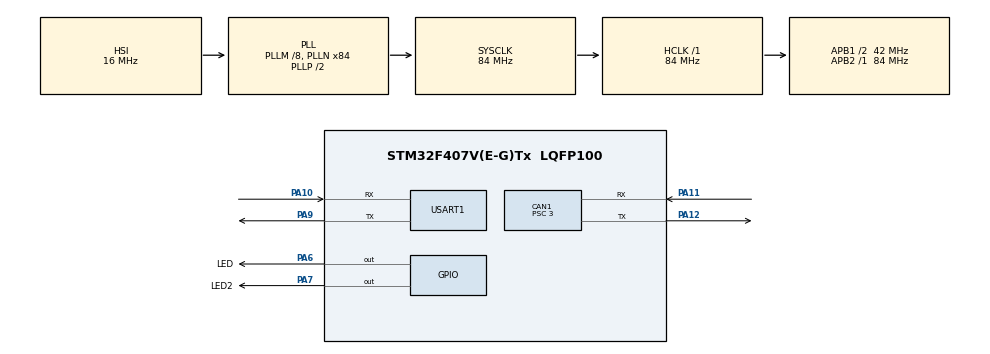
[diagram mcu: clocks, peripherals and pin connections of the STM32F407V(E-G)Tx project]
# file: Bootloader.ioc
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CAN1.BS1=CAN_BS1_11TQ
CAN1.BS2=CAN_BS2_2TQ
CAN1.CalculateBaudRate=1000000
CAN1.CalculateTimeBit=1000
CAN1.CalculateTimeQuantum=71.42857142857143
CAN1.Mode=CAN_MODE_NORMAL
CAN1.Prescaler=3
Mcu.Family=STM32F4
Mcu.Name=STM32F407V(E-G)Tx
Mcu.Package=LQFP100
NVIC.CAN1_RX0_IRQn=true\:0\:0\:false\:false\:true\:true\:true\:true
NVIC.CAN1_RX1_IRQn=true\:0\:0\:false\:false\:true\:true\:true\:true
NVIC.PriorityGroup=NVIC_PRIORITYGROUP_4
PA10.Mode=Asynchronous
PA10.Signal=USART1_RX
PA11.GPIO_PuPd=GPIO_PULLDOWN
PA11.Mode=CAN_Activate
PA11.Signal=CAN1_RX
PA12.GPIO_PuPd=GPIO_PULLDOWN
PA12.Mode=CAN_Activate
PA12.Signal=CAN1_TX
PA6.GPIO_Label=LED
PA6.Signal=GPIO_Output
PA7.GPIO_Label=LED2
PA7.Signal=GPIO_Output
PA9.Mode=Asynchronous
PA9.Signal=USART1_TX
PH0-OSC_IN.Mode=HSE-External-Oscillator
PH0-OSC_IN.Signal=RCC_OSC_IN
PH1-OSC_OUT.Mode=HSE-External-Oscillator
PH1-OSC_OUT.Signal=RCC_OSC_OUT
ProjectManager.HeapSize=0x200
ProjectManager.StackSize=0x400
ProjectManager.TargetToolchain=STM32CubeIDE
RCC.48MHZClocksFreq_Value=42000000
RCC.AHBFreq_Value=84000000
RCC.APB1CLKDivider=RCC_HCLK_DIV2
RCC.APB1Freq_Value=42000000
RCC.APB1TimFreq_Value=84000000
RCC.APB2Freq_Value=84000000
RCC.APB2TimFreq_Value=84000000
RCC.CortexFreq_Value=84000000
RCC.HCLKFreq_Value=84000000
RCC.HSE_VALUE=25000000
RCC.HSI_VALUE=16000000
RCC.LSE_VALUE=32768
RCC.PLLM=8
RCC.PLLN=84
RCC.SYSCLKFreq_VALUE=84000000
RCC.SYSCLKSource=RCC_SYSCLKSOURCE_PLLCLK
RCC.VCOOutputFreq_Value=168000000
USART1.VirtualMode=VM_ASYNC
board=custom

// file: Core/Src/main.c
/* USER CODE BEGIN Header */
/**
 ******************************************************************************
 * @file           : main.c
 * @brief          : Main program body
 ******************************************************************************
 * @attention
 *
 * Copyright (c) 2023 STMicroelectronics.
 * All rights reserved.
 *
 * This software is licensed under terms that can be found in the LICENSE file
 * in the root directory of this software component.
 * If no LICENSE file comes with this software, it is provided AS-IS.
 *
 ******************************************************************************
 */
/* USER CODE END Header */
#include "main.h"

/* USER CODE BEGIN Includes */
#include <stdio.h>
#include <stdbool.h>
#include <string.h>
#include "stm32f407x_flash.h"
#include "canbus_bootloader.h"
/* USER CODE END Includes */

/* USER CODE BEGIN PD */
// is a multiple of CAN_DATA_BYTES for ease
#define FLASH_BUF_MULT 256
#define FLASH_BUF_SIZE CAN_DATA_BYTES *FLASH_BUF_MULT
#define min(a, b) \
  ({ __typeof__ (a) _a = (a); \
      __typeof__ (b) _b = (b); \
     _a < _b ? _a : _b; })
/* USER CODE END PD */

/* USER CODE BEGIN PM */
typedef void (*ptrF)(uint32_t dlyticks);
typedef void (*pFunction)(void);
/* USER CODE END PM */

CAN_HandleTypeDef hcan1;

UART_HandleTypeDef huart1;

/* USER CODE BEGIN PV */
enum FLASH_STATUS
{
  NOT_STARTED,
  IN_PROGRESS,
  FINISHED
};

CAN_TxHeaderTypeDef TxHeader;
uint8_t TxData[8];
uint32_t TxMailbox;
CAN_RxHeaderTypeDef RxHeader;
uint8_t RxData[8];
enum FLASH_STATUS status = NOT_STARTED;
uint8_t flashBuf[FLASH_BUF_SIZE];
uint64_t fileLength;
int indexCheck;

/* USER CODE END PV */

void SystemClock_Config(void);
static void MX_GPIO_Init(void);
static void MX_CAN1_Init(void);
static void MX_USART1_UART_Init(void);
/* USER CODE BEGIN PFP */
void goToApp(void);
/* USER CODE END PFP */

/* USER CODE BEGIN 0 */

/**
 * @brief  Retargets the C library printf function to the USART.
 * @param  None
 * @retval None
 */
int __io_putchar(int ch)
{
  // Write character to ITM ch.0
  ITM_SendChar(ch);
  return (ch);
}

void HAL_CAN_RxFifo0MsgPendingCallback(CAN_HandleTypeDef *hcan)
{
  if (hcan == &hcan1)
  {
    if (HAL_CAN_GetRxMessage(hcan, CAN_RX_FIFO0, &RxHeader, RxData) != HAL_OK)
    {
      Error_Handler();
    }
    printf("CAN RX: ", RxHeader.StdId);
    for (int i = 0; i < 8; i++)
    {
      printf("%02X ", RxData[i]);
    }
    printf("\n");

    // if id == 0x123, we are receiving firmware
    if (RxHeader.StdId == 0x123)
    {

      // first reception, tells length of file
      if (status == NOT_STARTED)
      {
        status = IN_PROGRESS;
        indexCheck = 0;
        fileLength = 0;
        for (int i = 0; i < 8; i++)
        {
          fileLength <<= 8;
          fileLength += RxData[i];
        }
        printf("Receiving file with length %lu\n", fileLength);

        // wipe flash mem before writing
        TxHeader.DLC = 1;
        TxData[0] = status;
        HAL_CAN_AddTxMessage(&hcan1, &TxHeader, TxData, &TxMailbox);
        return;
      }

      uint32_t index = 0;
      uint8_t *data = RxData + CAN_IDX_BYTES;
      for (int i = 0; i < CAN_IDX_BYTES; i++)
      {
        index <<= 8;
        index += RxData[i];
      }

      //	printf("index diff: %d\n", index - indexCheck);
      if (index - indexCheck != 1)
      {
        printf("lost packet?\n");
      }
      indexCheck = index;

      uint8_t bytesToWrite = fileLength < CAN_DATA_BYTES ? fileLength : CAN_DATA_BYTES;
      //	uint8_t bytesToWrite = 6;

      uint32_t writeIdx = CAN_DATA_BYTES * (index % FLASH_BUF_MULT);

      // add data to flash buffer
      memcpy(&flashBuf[writeIdx], data, bytesToWrite);

      // if next index
      if (index > 0 && (index % FLASH_BUF_MULT == FLASH_BUF_MULT - 1 ||
                        bytesToWrite < CAN_DATA_BYTES))
      {
        printf("writing to flash at index %lu\n", index);
        // we need to write flash buffer to flash memory
        uint32_t numWords = (FLASH_BUF_SIZE / 4) + ((FLASH_BUF_SIZE % 4) != 0);
        uint32_t offset = index - (FLASH_BUF_MULT - 1);
        flashWriteApp(offset, (uint32_t *)flashBuf, numWords);
      }

      fileLength -= bytesToWrite;

      if (fileLength <= 0)
      {
        printf("Flashing Finished.\n");
        status = FINISHED;
      }
    }
  }
}

void goToApp(void)
{
  uint32_t JumpAddress;
  pFunction Jump_to_Application;
  printf("Jumping to Application \n");

  if (((*(uint32_t *)FLASH_APP_ADDR) & 0x2FFC0000) == 0x20000000)
  {
    HAL_Delay(100);
    printf("Valid Stack Pointer...\n");

    JumpAddress = *(uint32_t *)(FLASH_APP_ADDR + 4);
    Jump_to_Application = (pFunction)JumpAddress;

    __set_MSP(*(uint32_t *)FLASH_APP_ADDR);
    Jump_to_Application();
  }
  else
  {
    printf("Failed to Start Application\n");
  }
}

void Convert_To_Str(uint32_t *Data, char *Buf)
{
  int numberofbytes = ((strlen((char *)Data) / 4) + ((strlen((char *)Data) % 4) != 0)) * 4;

  for (int i = 0; i < numberofbytes; i++)
  {
    Buf[i] = Data[i / 4] >> (8 * (i % 4));
  }
}

/* USER CODE END 0 */

int main(void)
{
  /* USER CODE BEGIN 1 */
  TxHeader.IDE = CAN_ID_STD;
  TxHeader.StdId = 0x111;
  TxHeader.RTR = CAN_RTR_DATA;
  TxHeader.DLC = 2;
  TxData[0] = 'h';
  TxData[1] = 'i';
  /* USER CODE END 1 */

  /* MCU Configuration--------------------------------------------------------*/

  /* Reset of all peripherals, Initializes the Flash interface and the Systick. */
  HAL_Init();

  /* Configure the system clock */
  SystemClock_Config();

  /* Initialize all configured peripherals */
  MX_GPIO_Init();
  MX_CAN1_Init();
  MX_USART1_UART_Init();
  /* USER CODE BEGIN 2 */
  CAN_FilterTypeDef sFilterConfig;

  sFilterConfig.FilterFIFOAssignment = CAN_RX_FIFO0; // set fifo assignment
  sFilterConfig.FilterIdHigh = 0;
  sFilterConfig.FilterIdLow = 0;
  sFilterConfig.FilterMaskIdHigh = 0;
  sFilterConfig.FilterMaskIdLow = 0;
  sFilterConfig.FilterScale = CAN_FILTERSCALE_32BIT; // set filter scale
  sFilterConfig.FilterActivation = ENABLE;
  sFilterConfig.FilterBank = 5;
  sFilterConfig.FilterMode = CAN_FILTERMODE_IDMASK;
  sFilterConfig.SlaveStartFilterBank = 7;
  HAL_CAN_ConfigFilter(&hcan1, &sFilterConfig);

  if (HAL_CAN_Start(&hcan1) != HAL_OK)
  {
    Error_Handler();
  }

  if (HAL_CAN_ActivateNotification(&hcan1, CAN_IT_RX_FIFO0_MSG_PENDING) != HAL_OK)
  {
    Error_Handler();
  }

  //  char *data = "hello i am writing this to flash.";
  //  char string[100];
  //  uint32_t rxData[30];
  //
  //  flashEraseAppSectors();
  //  int numofwords = (strlen(data)/4)+((strlen(data)%4)!=0);
  //  uint32_t timeStart = HAL_GetTick();
  //  flashWriteApp(0, (uint32_t*)data, numofwords);
  //  uint32_t timeEnd = HAL_GetTick();
  //
  //  printf("Took %ld ms to write\n", timeEnd - timeStart);
  //
  //  flashReadData(FLASH_APP_ADDR, rxData, numofwords);
  //  Convert_To_Str(rxData, string);
  //
  //  printf("Flash string: %s\n", string);
  flashEraseAppSectors();
  /* USER CODE END 2 */

  /* Infinite loop */
  while (1)
  {

    /* USER CODE BEGIN 3 */
    //    if (status == FINISHED) {
    //	status = NOT_STARTED;
    //	goToApp();
    //    }
    //    goToApp();
    //    printf("hello world!\n\r");
    //    HAL_Delay(1000);
    if (HAL_CAN_AddTxMessage(&hcan1, &TxHeader, TxData, &TxMailbox) != HAL_OK)
    {
      Error_Handler();
    }
    HAL_Delay(1000);
    //
    //     HAL_GPIO_TogglePin(LED_GPIO_Port, LED_Pin);
    //     HAL_Delay(100);
    //     HAL_GPIO_TogglePin(LED_GPIO_Port, LED_Pin);
  }
  /* USER CODE END 3 */
}

void SystemClock_Config(void)
{
  RCC_OscInitTypeDef RCC_OscInitStruct = {0};
  RCC_ClkInitTypeDef RCC_ClkInitStruct = {0};

  /** Configure the main internal regulator output voltage
   */
  __HAL_RCC_PWR_CLK_ENABLE();
  __HAL_PWR_VOLTAGESCALING_CONFIG(PWR_REGULATOR_VOLTAGE_SCALE1);

  /** Initializes the RCC Oscillators according to the specified parameters
   * in the RCC_OscInitTypeDef structure.
   */
  RCC_OscInitStruct.OscillatorType = RCC_OSCILLATORTYPE_HSI;
  RCC_OscInitStruct.HSIState = RCC_HSI_ON;
  RCC_OscInitStruct.HSICalibrationValue = RCC_HSICALIBRATION_DEFAULT;
  RCC_OscInitStruct.PLL.PLLState = RCC_PLL_ON;
  RCC_OscInitStruct.PLL.PLLSource = RCC_PLLSOURCE_HSI;
  RCC_OscInitStruct.PLL.PLLM = 8;
  RCC_OscInitStruct.PLL.PLLN = 84;
  RCC_OscInitStruct.PLL.PLLP = RCC_PLLP_DIV2;
  RCC_OscInitStruct.PLL.PLLQ = 4;
  if (HAL_RCC_OscConfig(&RCC_OscInitStruct) != HAL_OK)
  {
    Error_Handler();
  }

  /** Initializes the CPU, AHB and APB buses clocks
   */
  RCC_ClkInitStruct.ClockType = RCC_CLOCKTYPE_HCLK | RCC_CLOCKTYPE_SYSCLK | RCC_CLOCKTYPE_PCLK1 | RCC_CLOCKTYPE_PCLK2;
  RCC_ClkInitStruct.SYSCLKSource = RCC_SYSCLKSOURCE_PLLCLK;
  RCC_ClkInitStruct.AHBCLKDivider = RCC_SYSCLK_DIV1;
  RCC_ClkInitStruct.APB1CLKDivider = RCC_HCLK_DIV2;
  RCC_ClkInitStruct.APB2CLKDivider = RCC_HCLK_DIV1;

  if (HAL_RCC_ClockConfig(&RCC_ClkInitStruct, FLASH_LATENCY_2) != HAL_OK)
  {
    Error_Handler();
  }
}

static void MX_CAN1_Init(void)
{

  hcan1.Instance = CAN1;
  hcan1.Init.Prescaler = 3;
  hcan1.Init.Mode = CAN_MODE_NORMAL;
  hcan1.Init.SyncJumpWidth = CAN_SJW_1TQ;
  hcan1.Init.TimeSeg1 = CAN_BS1_11TQ;
  hcan1.Init.TimeSeg2 = CAN_BS2_2TQ;
  hcan1.Init.TimeTriggeredMode = DISABLE;
  hcan1.Init.AutoBusOff = DISABLE;
  hcan1.Init.AutoWakeUp = DISABLE;
  hcan1.Init.AutoRetransmission = DISABLE;
  hcan1.Init.ReceiveFifoLocked = DISABLE;
  hcan1.Init.TransmitFifoPriority = DISABLE;
  if (HAL_CAN_Init(&hcan1) != HAL_OK)
  {
    Error_Handler();
  }
}

static void MX_USART1_UART_Init(void)
{

  huart1.Instance = USART1;
  huart1.Init.BaudRate = 115200;
  huart1.Init.WordLength = UART_WORDLENGTH_8B;
  huart1.Init.StopBits = UART_STOPBITS_1;
  huart1.Init.Parity = UART_PARITY_NONE;
  huart1.Init.Mode = UART_MODE_TX_RX;
  huart1.Init.HwFlowCtl = UART_HWCONTROL_NONE;
  huart1.Init.OverSampling = UART_OVERSAMPLING_16;
  if (HAL_UART_Init(&huart1) != HAL_OK)
  {
    Error_Handler();
  }
}

static void MX_GPIO_Init(void)
{
  GPIO_InitTypeDef GPIO_InitStruct = {0};

  /* GPIO Ports Clock Enable */
  __HAL_RCC_GPIOH_CLK_ENABLE();
  __HAL_RCC_GPIOA_CLK_ENABLE();

  /*Configure GPIO pin Output Level */
  HAL_GPIO_WritePin(GPIOA, LED_Pin | LED2_Pin, GPIO_PIN_RESET);

  /*Configure GPIO pins : LED_Pin LED2_Pin */
  GPIO_InitStruct.Pin = LED_Pin | LED2_Pin;
  GPIO_InitStruct.Mode = GPIO_MODE_OUTPUT_PP;
  GPIO_InitStruct.Pull = GPIO_NOPULL;
  GPIO_InitStruct.Speed = GPIO_SPEED_FREQ_LOW;
  HAL_GPIO_Init(GPIOA, &GPIO_InitStruct);

}

void Error_Handler(void)
{
  /* USER CODE BEGIN Error_Handler_Debug */
  /* User can add his own implementation to report the HAL error return state */
  __disable_irq();
  while (1)
  {
    HAL_GPIO_TogglePin(LED2_GPIO_Port, LED2_Pin);
    HAL_Delay(100);
  }
  /* USER CODE END Error_Handler_Debug */
}
